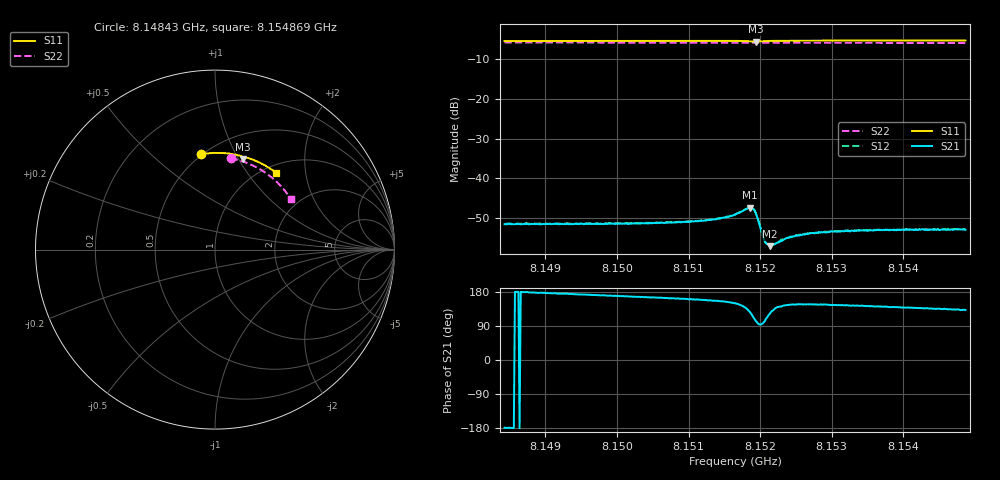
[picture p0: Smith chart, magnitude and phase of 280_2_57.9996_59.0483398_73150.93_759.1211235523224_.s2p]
#  HZ  S  RI  R  50.00
! Rohde & Schwarz Vector Network Analyzer
! Rohde-Schwarz,ZNB20-2Port,1311601062101988,3.16
! Created: UTC 3/21/2024, 1:02:50 AM
! freq[Hz]  re:S11  im:S11  re:S21  im:S21  re:S12  im:S12  re:S22  im:S22
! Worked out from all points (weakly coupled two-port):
!   401 points, 8.14843 GHz to 8.154869 GHz, reference 50 ohm
!   highest |S21| = -47.48 dB at 8.151859 GHz (marker M1); lowest = -57.2 dB at 8.152133 GHz (marker M2)
!   lowest |S11| = -5.5 dB at 8.151939 GHz (marker M3), VSWR 3.25, Z = 37.2 + j52.3 ohm
!   |S11| at or under -10 dB: nowhere
!   |S22| runs from -5.9 to -5.7 dB; largest |S21 - S12| = 0.00011
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8.1484302e9  -0.0798 0.531  -0.00262 -5.97e-05  -0.00264 -2.03e-05  0.0868 0.5085
8.1495087e9  -0.00494 0.5387  -0.00265 0.000327  -0.00264 0.000376  0.155 0.4909
8.1505873e9  0.0701 0.536  -0.00262 0.000737  -0.00262 0.00078  0.2197 0.4643
8.1509897e9  0.0983 0.5322  -0.00266 0.000921  -0.00268 0.001  0.2426 0.4523
8.1512795e9  0.1187 0.5281  -0.00273 0.00115  -0.00274 0.00116  0.2587 0.4427
8.151537e9  0.1374 0.5235  -0.00291 0.00147  -0.00289 0.00151  0.2729 0.4339
8.1516497e9  0.1457 0.5205  -0.00298 0.00174  -0.00302 0.00177  0.2788 0.4298
8.151859e9  0.159 0.5089  -0.0025 0.00341  -0.00247 0.00345  0.2897 0.4218
8.1519073e9  0.1582 0.5057  -0.00159 0.00374  -0.00153 0.00379  0.2922 0.42
8.1519395e9  0.1567 0.5055  -0.000824 0.00353  -0.000779 0.00355  0.2937 0.4189
8.1520522e9  0.1599 0.5115  -0.000283 0.00169  -0.000304 0.00172  0.2994 0.415
8.1521004e9  0.164 0.5125  -0.000569 0.00136  -0.00057 0.00135  0.302 0.4131
8.1521326e9  0.1669 0.5128  -0.000715 0.00119  -0.000736 0.00119  0.3038 0.4118
8.1521809e9  0.1709 0.5126  -0.000936 0.00108  -0.000952 0.0011  0.3061 0.41
8.1522453e9  0.1761 0.5119  -0.00118 0.000985  -0.00115 0.00105  0.3094 0.4075
8.1523258e9  0.1823 0.5104  -0.00134 0.000986  -0.00137 0.00101  0.3134 0.4043
8.1523902e9  0.1871 0.5091  -0.00145 0.00101  -0.00144 0.00103  0.3167 0.4015
8.1525673e9  0.1995 0.5052  -0.00161 0.00105  -0.00162 0.00107  0.3252 0.3942
8.1527282e9  0.2104 0.5012  -0.00169 0.00112  -0.0017 0.00111  0.3331 0.3876
8.1531951e9  0.2406 0.4883  -0.00175 0.00127  -0.00177 0.00128  0.3546 0.367
8.1538068e9  0.2786 0.4689  -0.00167 0.00143  -0.00169 0.00147  0.3811 0.3382
8.1548692e9  0.3397 0.4284  -0.00149 0.00166  -0.00152 0.00167  0.4211 0.2842
